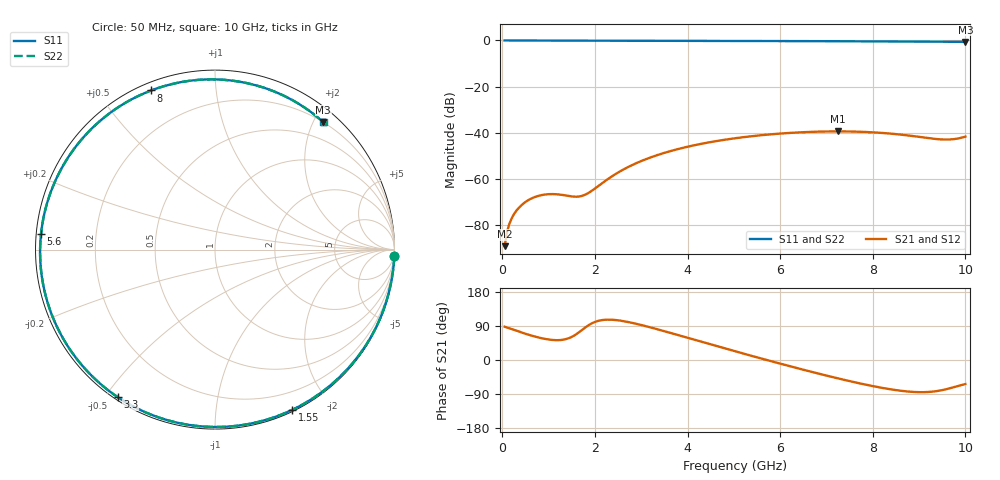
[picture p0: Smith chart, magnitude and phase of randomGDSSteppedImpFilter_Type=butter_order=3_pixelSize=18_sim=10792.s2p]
! freq	dB(S11)	phase(S11)	dB(S12)	phase(S12)
!  dB(S21)	phase(S21)	dB(S22)	phase(S22)
!S-par simulation data
#  GHz  S  DB  R 50
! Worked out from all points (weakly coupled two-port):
!   200 points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, 50 MHz to 10 GHz, reference 50 ohm
!   highest |S21| = -39.35 dB at 7.25 GHz (marker M1); lowest = -89.0 dB at 50 MHz (marker M2)
!   lowest |S11| = -0.6 dB at 10 GHz (marker M3), VSWR 28.30, Z = 9.95 + j107 ohm
!   |S11| at or under -10 dB: nowhere
!   |S22| runs from -0.6 to 0.0 dB; largest |S21 - S12| = 0
!   S11 on the Smith chart (normalised r, x): 50 MHz: 0, -52; 1.55 GHz: 0.02, -1.59; 3.3 GHz: 0.01, -0.54; 5.6 GHz: 0.01, +0.05; 8 GHz: 0.03, +0.68; 10 GHz: 0.20, +2.14
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0.05  -0.00 -2.2  -89.01 87.9  -89.01 87.9  -0.00 -2.2
0.15  -0.01 -6.6  -79.53 83.7  -79.53 83.7  -0.01 -6.6
0.25  -0.02 -10.9  -75.22 79.7  -75.22 79.7  -0.02 -10.9
0.4  -0.02 -17.3  -71.56 73.3  -71.56 73.3  -0.02 -17.3
0.65  -0.04 -28.0  -68.18 63.7  -68.18 63.7  -0.04 -28.0
1.05  -0.06 -44.6  -66.47 53.3  -66.47 53.3  -0.06 -44.6
1.55  -0.08 -64.4  -67.57 64.4  -67.57 64.4  -0.08 -64.4
1.75  -0.08 -71.9  -67.06 81.9  -67.06 81.9  -0.08 -71.9
2.45  -0.11 -96.6  -57.76 105.4  -57.76 105.4  -0.11 -96.7
2.85  -0.12 -109.7  -53.49 96.7  -53.49 96.7  -0.12 -109.7
3.3  -0.14 -123.5  -49.93 82.8  -49.93 82.8  -0.14 -123.5
3.4  -0.14 -126.4  -49.26 79.4  -49.26 79.4  -0.14 -126.4
4.2  -0.17 -148.9  -45.11 51.6  -45.11 51.6  -0.17 -149.0
5.05  -0.21 -171.2  -42.25 22.2  -42.25 22.2  -0.21 -171.3
5.6  -0.23 174.8  -40.98 3.6  -40.98 3.6  -0.23 174.7
6.7  -0.30 146.8  -39.53 -31.9  -39.53 -31.9  -0.30 146.7
7.25  -0.34 132.4  -39.35 -48.6  -39.35 -48.6  -0.34 132.3
8  -0.40 111.9  -39.75 -68.9  -39.75 -68.9  -0.40 111.8
8.35  -0.43 101.9  -40.24 -76.7  -40.24 -76.7  -0.43 101.8
9.2  -0.51 76.1  -42.25 -84.4  -42.25 -84.4  -0.51 75.9
9.65  -0.56 61.5  -42.85 -75.1  -42.85 -75.1  -0.56 61.3
10  -0.61 49.7  -41.61 -63.4  -41.61 -63.4  -0.61 49.5
